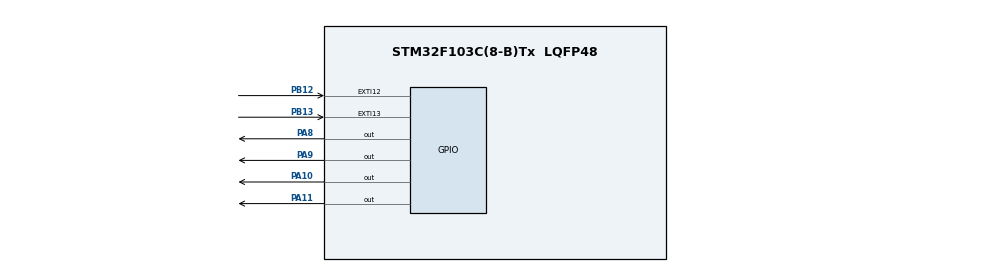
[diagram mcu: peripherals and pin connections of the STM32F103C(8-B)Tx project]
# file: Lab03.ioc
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Mcu.Family=STM32F1
Mcu.Name=STM32F103C(8-B)Tx
Mcu.Package=LQFP48
NVIC.EXTI15_10_IRQn=true\:0\:0\:false\:true\:true\:1\:true\:true\:true
NVIC.PriorityGroup=NVIC_PRIORITYGROUP_4
PA10.Signal=GPIO_Output
PA11.Signal=GPIO_Output
PA8.Signal=GPIO_Output
PA9.Signal=GPIO_Output
PB12.Signal=GPXTI12
PB13.Signal=GPXTI13
ProjectManager.HeapSize=0x200
ProjectManager.StackSize=0x400
ProjectManager.TargetToolchain=STM32CubeIDE
RCC.APB1Freq_Value=8000000
RCC.APB2Freq_Value=8000000
board=custom

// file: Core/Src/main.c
/* USER CODE BEGIN Header */
/**
  ******************************************************************************
  * @file           : main.c
  * @brief          : Main program body
  ******************************************************************************
  * @attention
  *
  * Copyright (c) 2023 STMicroelectronics.
  * All rights reserved.
  *
  * This software is licensed under terms that can be found in the LICENSE file
  * in the root directory of this software component.
  * If no LICENSE file comes with this software, it is provided AS-IS.
  *
  ******************************************************************************
  */
/* USER CODE END Header */
#include "main.h"
#include "gpio.h"

/* USER CODE BEGIN PV */
char stat = 0;
/* USER CODE END PV */

void SystemClock_Config(void);
static void MX_NVIC_Init(void);

int main(void)
{

  /* MCU Configuration--------------------------------------------------------*/

  /* Reset of all peripherals, Initializes the Flash interface and the Systick. */
  HAL_Init();

  /* Configure the system clock */
  SystemClock_Config();

  /* Initialize all configured peripherals */
  MX_GPIO_Init();

  /* Initialize interrupts */
  MX_NVIC_Init();

  /* Infinite loop */
  while (1)
  {

  }
}

void SystemClock_Config(void)
{
  RCC_OscInitTypeDef RCC_OscInitStruct = {0};
  RCC_ClkInitTypeDef RCC_ClkInitStruct = {0};

  /** Initializes the RCC Oscillators according to the specified parameters
  * in the RCC_OscInitTypeDef structure.
  */
  RCC_OscInitStruct.OscillatorType = RCC_OSCILLATORTYPE_HSI;
  RCC_OscInitStruct.HSIState = RCC_HSI_ON;
  RCC_OscInitStruct.HSICalibrationValue = RCC_HSICALIBRATION_DEFAULT;
  RCC_OscInitStruct.PLL.PLLState = RCC_PLL_NONE;
  if (HAL_RCC_OscConfig(&RCC_OscInitStruct) != HAL_OK)
  {
    Error_Handler();
  }

  /** Initializes the CPU, AHB and APB buses clocks
  */
  RCC_ClkInitStruct.ClockType = RCC_CLOCKTYPE_HCLK|RCC_CLOCKTYPE_SYSCLK
                              |RCC_CLOCKTYPE_PCLK1|RCC_CLOCKTYPE_PCLK2;
  RCC_ClkInitStruct.SYSCLKSource = RCC_SYSCLKSOURCE_HSI;
  RCC_ClkInitStruct.AHBCLKDivider = RCC_SYSCLK_DIV1;
  RCC_ClkInitStruct.APB1CLKDivider = RCC_HCLK_DIV1;
  RCC_ClkInitStruct.APB2CLKDivider = RCC_HCLK_DIV1;

  if (HAL_RCC_ClockConfig(&RCC_ClkInitStruct, FLASH_LATENCY_0) != HAL_OK)
  {
    Error_Handler();
  }
}

/**
  * @brief NVIC Configuration.
  * @retval None
  */
static void MX_NVIC_Init(void)
{
  /* EXTI15_10_IRQn interrupt configuration */
  HAL_NVIC_SetPriority(EXTI15_10_IRQn, 0, 0);
  HAL_NVIC_EnableIRQ(EXTI15_10_IRQn);
}

/* USER CODE BEGIN 4 */

void HAL_GPIO_EXTI_Callback(uint16_t GPIO_Pin)
{
//	if(GPIO_Pin == GPIO_PIN_12)
//	{
//
//HAL_GPIO_WritePin(GPIOA, GPIO_PIN_8, GPIO_PIN_SET);
//	}
//	if(GPIO_Pin == GPIO_PIN_13)
//	{
//		HAL_GPIO_WritePin(GPIOA, GPIO_PIN_8, GPIO_PIN_RESET);
//	}
	if(GPIO_Pin == GPIO_PIN_12){
				switch(stat)
					{

					case 0:
						HAL_GPIO_WritePin(GPIOA, GPIO_PIN_8, GPIO_PIN_SET);
						stat++;
						break;
					case 1:
						HAL_GPIO_WritePin(GPIOA, GPIO_PIN_9, GPIO_PIN_SET);
						stat++;
						break;
					case 2:
						HAL_GPIO_WritePin(GPIOA, GPIO_PIN_10, GPIO_PIN_SET);
						stat++;
						break;
					case 3:
						HAL_GPIO_WritePin(GPIOA, GPIO_PIN_11, GPIO_PIN_SET);
						break;

					}
				//HAL_Delay(150);
//						if(stat < 4 )

	}

			//HAL_Delay(200);

		if (GPIO_Pin == GPIO_PIN_13)
			{
				switch(stat){

					case 0:
						HAL_GPIO_WritePin(GPIOA, GPIO_PIN_8, GPIO_PIN_RESET);
						//stat--;
						break;
					case 1:
						HAL_GPIO_WritePin(GPIOA, GPIO_PIN_9, GPIO_PIN_RESET);
						stat--;
						break;
					case 2:
						HAL_GPIO_WritePin(GPIOA, GPIO_PIN_10, GPIO_PIN_RESET);
						stat--;
						break;
					case 3:
						HAL_GPIO_WritePin(GPIOA, GPIO_PIN_11, GPIO_PIN_RESET);
					    break;
					    stat--;
							}

						if(stat > 0) stat--;

			}

}

/* USER CODE END 4 */

void Error_Handler(void)
{
  __disable_irq();
  while (1)
  {
  }
}
